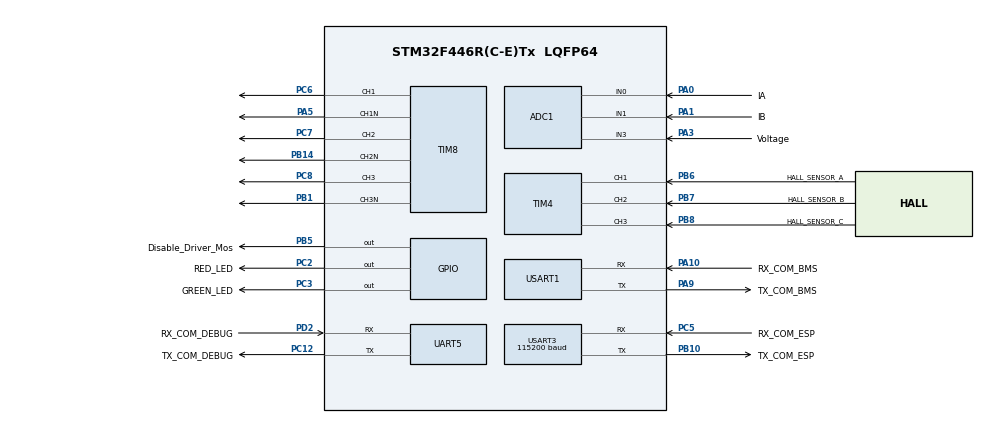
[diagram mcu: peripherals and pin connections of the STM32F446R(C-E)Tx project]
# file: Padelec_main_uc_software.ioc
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ADC1.Channel-0\#ChannelRegularConversion=ADC_CHANNEL_0
ADC1.Channel-1\#ChannelRegularConversion=ADC_CHANNEL_1
ADC1.ContinuousConvMode=DISABLE
ADC1.DMAContinuousRequests=DISABLE
ADC1.EOCSelection=ADC_EOC_SINGLE_CONV
ADC1.InjNumberOfConversion=0
ADC1.NbrOfConversion=2
ADC1.NbrOfConversionFlag=1
ADC1.Rank-0\#ChannelRegularConversion=1
ADC1.Rank-1\#ChannelRegularConversion=2
ADC1.SamplingTime-0\#ChannelRegularConversion=ADC_SAMPLETIME_56CYCLES
ADC1.SamplingTime-1\#ChannelRegularConversion=ADC_SAMPLETIME_56CYCLES
ADC1.ScanConvMode=ENABLE
ADC1.master=1
Dma.ADC1.0.Direction=DMA_PERIPH_TO_MEMORY
Dma.ADC1.0.FIFOMode=DMA_FIFOMODE_DISABLE
Dma.ADC1.0.Instance=DMA2_Stream0
Dma.ADC1.0.MemDataAlignment=DMA_MDATAALIGN_HALFWORD
Dma.ADC1.0.MemInc=DMA_MINC_ENABLE
Dma.ADC1.0.Mode=DMA_CIRCULAR
Dma.ADC1.0.PeriphDataAlignment=DMA_PDATAALIGN_HALFWORD
Dma.ADC1.0.PeriphInc=DMA_PINC_DISABLE
Dma.ADC1.0.Priority=DMA_PRIORITY_HIGH
Dma.Request0=ADC1
Mcu.Family=STM32F4
Mcu.Name=STM32F446R(C-E)Tx
Mcu.Package=LQFP64
NVIC.ADC_IRQn=true\:0\:0\:false\:false\:true\:true\:true\:true
NVIC.DMA2_Stream0_IRQn=true\:0\:0\:false\:false\:true\:false\:true\:true
NVIC.PriorityGroup=NVIC_PRIORITYGROUP_4
NVIC.USART1_IRQn=true\:0\:0\:false\:false\:true\:true\:true\:true
NVIC.USART3_IRQn=true\:0\:0\:false\:false\:true\:true\:true\:true
PA0-WKUP.GPIO_Label=IA
PA0-WKUP.Signal=SharedAnalog_PA0
PA1.GPIO_Label=IB
PA1.Signal=SharedAnalog_PA1
PA10.GPIO_Label=RX_COM_BMS
PA10.Mode=Asynchronous
PA10.Signal=USART1_RX
PA13.Mode=Serial_Wire
PA13.Signal=SYS_JTMS-SWDIO
PA14.Mode=Serial_Wire
PA14.Signal=SYS_JTCK-SWCLK
PA3.GPIO_Label=Voltage
PA3.Signal=ADCx_IN3
PA5.Mode=PWM Generation1 CH1 CH1N
PA5.Signal=TIM8_CH1N
PA9.GPIO_Label=TX_COM_BMS
PA9.Mode=Asynchronous
PA9.Signal=USART1_TX
PB1.Mode=PWM Generation3 CH3 CH3N
PB1.Signal=TIM8_CH3N
PB10.GPIO_Label=TX_COM_ESP
PB10.Mode=Asynchronous
PB10.Signal=USART3_TX
PB14.Mode=PWM Generation2 CH2 CH2N
PB14.Signal=TIM8_CH2N
PB5.GPIO_Label=Disable_Driver_Mos
PB5.Signal=GPIO_Output
PB6.GPIO_Label=HALL_SENSOR_A
PB6.Signal=S_TIM4_CH1
PB7.GPIO_Label=HALL_SENSOR_B
PB7.Signal=S_TIM4_CH2
PB8.GPIO_Label=HALL_SENSOR_C
PB8.Signal=S_TIM4_CH3
PC12.GPIO_Label=TX_COM_DEBUG
PC12.Mode=Asynchronous
PC12.Signal=UART5_TX
PC2.GPIO_Label=RED_LED
PC2.Signal=GPIO_Output
PC3.GPIO_Label=GREEN_LED
PC3.Signal=GPIO_Output
PC5.GPIO_Label=RX_COM_ESP
PC5.Mode=Asynchronous
PC5.Signal=USART3_RX
PC6.Signal=S_TIM8_CH1
PC7.Signal=S_TIM8_CH2
PC8.Signal=S_TIM8_CH3
PD2.GPIO_Label=RX_COM_DEBUG
PD2.Mode=Asynchronous
PD2.Signal=UART5_RX
ProjectManager.HeapSize=0x200
ProjectManager.StackSize=0x400
ProjectManager.TargetToolchain=STM32CubeIDE
RCC.CortexFreq_Value=16000000
RCC.PLLN=336
RCC.PLLQ=7
RCC.PLLSourceVirtual=RCC_PLLSOURCE_HSI
RCC.USBFreq_Value=48000000
RCC.VCOOutputFreq_Value=336000000
SH.ADCx_IN3.0=ADC1_IN3,IN3
SH.S_TIM4_CH1.0=TIM4_CH1,Xored_Inputs_Hall_Sensor_Interface
SH.S_TIM4_CH2.0=TIM4_CH2,Xored_Inputs_Hall_Sensor_Interface
SH.S_TIM4_CH3.0=TIM4_CH3,Xored_Inputs_Hall_Sensor_Interface
SH.S_TIM8_CH1.0=TIM8_CH1,PWM Generation1 CH1 CH1N
SH.S_TIM8_CH2.0=TIM8_CH2,PWM Generation2 CH2 CH2N
SH.S_TIM8_CH3.0=TIM8_CH3,PWM Generation3 CH3 CH3N
SH.SharedAnalog_PA0.0=GPIO_Analog
SH.SharedAnalog_PA0.1=ADC1_IN0,IN0
SH.SharedAnalog_PA1.0=GPIO_Analog
SH.SharedAnalog_PA1.1=ADC1_IN1,IN1
TIM8.Channel-PWM\ Generation1\ CH1\ CH1N=TIM_CHANNEL_1
TIM8.Channel-PWM\ Generation2\ CH2\ CH2N=TIM_CHANNEL_2
TIM8.Channel-PWM\ Generation3\ CH3\ CH3N=TIM_CHANNEL_3
UART5.VirtualMode=Asynchronous
USART1.VirtualMode=VM_ASYNC
USART3.BaudRate=115200
USART3.VirtualMode=VM_ASYNC
board=custom

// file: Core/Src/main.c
/* USER CODE BEGIN Header */
/**
  ******************************************************************************
  * @file           : main.c
  * @brief          : Main program body
  ******************************************************************************
  * @attention
  *
  * Copyright (c) 2025 STMicroelectronics.
  * All rights reserved.
  *
  * This software is licensed under terms that can be found in the LICENSE file
  * in the root directory of this software component.
  * If no LICENSE file comes with this software, it is provided AS-IS.
  *
  ******************************************************************************
  */
/* USER CODE END Header */
#include "main.h"

/* USER CODE BEGIN Includes */
#include <stdbool.h>
#include <stdio.h>
#include <stdlib.h>
#include <string.h>
/* USER CODE END Includes */

ADC_HandleTypeDef hadc1;
DMA_HandleTypeDef hdma_adc1;

TIM_HandleTypeDef htim4;
TIM_HandleTypeDef htim8;

UART_HandleTypeDef huart5;
UART_HandleTypeDef huart1;
UART_HandleTypeDef huart3;

/* USER CODE BEGIN PV */
volatile uint16_t adc_in0_current,adc_in1_current,adc_in2_current,adc_in3_voltage;
volatile uint16_t adc_in0, adc_in1;
uint16_t adc_dma_buf[2];
uint16_t adc_values[2];
float I_current[3];
#define RX_BUFFER_SIZE 64
#define ADC_MAX     4095.0f
#define VREF        3.3f

uint8_t rx_char;
char rx_buffer[RX_BUFFER_SIZE];
uint8_t rx_index = 0;

#define NRF_CE_HIGH()   HAL_GPIO_WritePin(CE_GPIO_Port, CE_Pin, GPIO_PIN_SET)
#define NRF_CE_LOW()    HAL_GPIO_WritePin(CE_GPIO_Port, CE_Pin, GPIO_PIN_RESET)
#define NRF_CSN_HIGH()  HAL_GPIO_WritePin(CSN_GPIO_Port, CSN_Pin, GPIO_PIN_SET)
#define NRF_CSN_LOW()   HAL_GPIO_WritePin(CSN_GPIO_Port, CSN_Pin, GPIO_PIN_RESET)
/* USER CODE END PV */

void SystemClock_Config(void);
static void MX_GPIO_Init(void);
static void MX_DMA_Init(void);
static void MX_ADC1_Init(void);
static void MX_USART3_UART_Init(void);
static void MX_TIM4_Init(void);
static void MX_TIM8_Init(void);
static void MX_UART5_Init(void);
static void MX_USART1_UART_Init(void);
/* USER CODE BEGIN PFP */
void HAL_UART_RxCpltCallback(UART_HandleTypeDef *huart);
void UART3_SendString(char *str);
void send_response(char *msg);
bool set_led(int led, int state);
bool set_pwm(int channel, int percent);
void process_command(char *cmd);
/* USER CODE END PFP */

int main(void)
{

  /* MCU Configuration--------------------------------------------------------*/

  /* Reset of all peripherals, Initializes the Flash interface and the Systick. */
  HAL_Init();

  /* Configure the system clock */
  SystemClock_Config();

  /* Initialize all configured peripherals */
  MX_GPIO_Init();
  MX_DMA_Init();
  MX_ADC1_Init();
  MX_USART3_UART_Init();
  MX_TIM4_Init();
  MX_TIM8_Init();
  MX_UART5_Init();
  MX_USART1_UART_Init();
  /* USER CODE BEGIN 2 */
  // Démarrage PWM

  HAL_TIM_PWM_Start(&htim8, TIM_CHANNEL_1);
  HAL_TIM_PWM_Start(&htim4, TIM_CHANNEL_1);
  HAL_TIM_PWM_Start(&htim8, TIM_CHANNEL_2);
  HAL_TIM_PWM_Start(&htim4, TIM_CHANNEL_2);
  HAL_TIM_PWM_Start(&htim8, TIM_CHANNEL_3);
  HAL_TIM_PWM_Start(&htim4, TIM_CHANNEL_3);
  //HAL_ADC_Start_DMA(&hadc1, (uint32_t*)adc_dma_buf, 2);
  // start interrupt UART3
  HAL_UART_Receive_IT(&huart3, &rx_char, 1);

  /* USER CODE END 2 */

  /* Infinite loop */
  while (1)
  {

    /* USER CODE BEGIN 3 */

	  // Toggle ALL LEDS
	  //HAL_GPIO_TogglePin(GPIOC, GPIO_PIN_4);
	  //HAL_GPIO_TogglePin(GPIOA, GPIO_PIN_5);
	  //HAL_GPIO_TogglePin(GPIOA, GPIO_PIN_4);

  }

  /* USER CODE END 3 */
}

void SystemClock_Config(void)
{
  RCC_OscInitTypeDef RCC_OscInitStruct = {0};
  RCC_ClkInitTypeDef RCC_ClkInitStruct = {0};

  /** Configure the main internal regulator output voltage
  */
  __HAL_RCC_PWR_CLK_ENABLE();
  __HAL_PWR_VOLTAGESCALING_CONFIG(PWR_REGULATOR_VOLTAGE_SCALE3);

  /** Initializes the RCC Oscillators according to the specified parameters
  * in the RCC_OscInitTypeDef structure.
  */
  RCC_OscInitStruct.OscillatorType = RCC_OSCILLATORTYPE_HSI;
  RCC_OscInitStruct.HSIState = RCC_HSI_ON;
  RCC_OscInitStruct.HSICalibrationValue = RCC_HSICALIBRATION_DEFAULT;
  RCC_OscInitStruct.PLL.PLLState = RCC_PLL_NONE;
  if (HAL_RCC_OscConfig(&RCC_OscInitStruct) != HAL_OK)
  {
    Error_Handler();
  }

  /** Initializes the CPU, AHB and APB buses clocks
  */
  RCC_ClkInitStruct.ClockType = RCC_CLOCKTYPE_HCLK|RCC_CLOCKTYPE_SYSCLK
                              |RCC_CLOCKTYPE_PCLK1|RCC_CLOCKTYPE_PCLK2;
  RCC_ClkInitStruct.SYSCLKSource = RCC_SYSCLKSOURCE_HSI;
  RCC_ClkInitStruct.AHBCLKDivider = RCC_SYSCLK_DIV1;
  RCC_ClkInitStruct.APB1CLKDivider = RCC_HCLK_DIV1;
  RCC_ClkInitStruct.APB2CLKDivider = RCC_HCLK_DIV1;

  if (HAL_RCC_ClockConfig(&RCC_ClkInitStruct, FLASH_LATENCY_0) != HAL_OK)
  {
    Error_Handler();
  }
}

static void MX_ADC1_Init(void)
{

  ADC_ChannelConfTypeDef sConfig = {0};

  /** Configure the global features of the ADC (Clock, Resolution, Data Alignment and number of conversion)
  */
  hadc1.Instance = ADC1;
  hadc1.Init.ClockPrescaler = ADC_CLOCK_SYNC_PCLK_DIV2;
  hadc1.Init.Resolution = ADC_RESOLUTION_12B;
  hadc1.Init.ScanConvMode = ENABLE;
  hadc1.Init.ContinuousConvMode = DISABLE;
  hadc1.Init.DiscontinuousConvMode = DISABLE;
  hadc1.Init.ExternalTrigConvEdge = ADC_EXTERNALTRIGCONVEDGE_NONE;
  hadc1.Init.ExternalTrigConv = ADC_SOFTWARE_START;
  hadc1.Init.DataAlign = ADC_DATAALIGN_RIGHT;
  hadc1.Init.NbrOfConversion = 2;
  hadc1.Init.DMAContinuousRequests = DISABLE;
  hadc1.Init.EOCSelection = ADC_EOC_SINGLE_CONV;
  if (HAL_ADC_Init(&hadc1) != HAL_OK)
  {
    Error_Handler();
  }

  /** Configure for the selected ADC regular channel its corresponding rank in the sequencer and its sample time.
  */
  sConfig.Channel = ADC_CHANNEL_0;
  sConfig.Rank = 1;
  sConfig.SamplingTime = ADC_SAMPLETIME_56CYCLES;
  if (HAL_ADC_ConfigChannel(&hadc1, &sConfig) != HAL_OK)
  {
    Error_Handler();
  }

  /** Configure for the selected ADC regular channel its corresponding rank in the sequencer and its sample time.
  */
  sConfig.Channel = ADC_CHANNEL_1;
  sConfig.Rank = 2;
  if (HAL_ADC_ConfigChannel(&hadc1, &sConfig) != HAL_OK)
  {
    Error_Handler();
  }

}

static void MX_TIM4_Init(void)
{

  TIM_HallSensor_InitTypeDef sConfig = {0};
  TIM_MasterConfigTypeDef sMasterConfig = {0};

  htim4.Instance = TIM4;
  htim4.Init.Prescaler = 0;
  htim4.Init.CounterMode = TIM_COUNTERMODE_UP;
  htim4.Init.Period = 65535;
  htim4.Init.ClockDivision = TIM_CLOCKDIVISION_DIV1;
  htim4.Init.AutoReloadPreload = TIM_AUTORELOAD_PRELOAD_DISABLE;
  sConfig.IC1Polarity = TIM_ICPOLARITY_RISING;
  sConfig.IC1Prescaler = TIM_ICPSC_DIV1;
  sConfig.IC1Filter = 0;
  sConfig.Commutation_Delay = 0;
  if (HAL_TIMEx_HallSensor_Init(&htim4, &sConfig) != HAL_OK)
  {
    Error_Handler();
  }
  sMasterConfig.MasterOutputTrigger = TIM_TRGO_OC2REF;
  sMasterConfig.MasterSlaveMode = TIM_MASTERSLAVEMODE_DISABLE;
  if (HAL_TIMEx_MasterConfigSynchronization(&htim4, &sMasterConfig) != HAL_OK)
  {
    Error_Handler();
  }

}

static void MX_TIM8_Init(void)
{

  TIM_MasterConfigTypeDef sMasterConfig = {0};
  TIM_OC_InitTypeDef sConfigOC = {0};
  TIM_BreakDeadTimeConfigTypeDef sBreakDeadTimeConfig = {0};

  htim8.Instance = TIM8;
  htim8.Init.Prescaler = 0;
  htim8.Init.CounterMode = TIM_COUNTERMODE_UP;
  htim8.Init.Period = 65535;
  htim8.Init.ClockDivision = TIM_CLOCKDIVISION_DIV1;
  htim8.Init.RepetitionCounter = 0;
  htim8.Init.AutoReloadPreload = TIM_AUTORELOAD_PRELOAD_DISABLE;
  if (HAL_TIM_PWM_Init(&htim8) != HAL_OK)
  {
    Error_Handler();
  }
  sMasterConfig.MasterOutputTrigger = TIM_TRGO_RESET;
  sMasterConfig.MasterSlaveMode = TIM_MASTERSLAVEMODE_DISABLE;
  if (HAL_TIMEx_MasterConfigSynchronization(&htim8, &sMasterConfig) != HAL_OK)
  {
    Error_Handler();
  }
  sConfigOC.OCMode = TIM_OCMODE_PWM1;
  sConfigOC.Pulse = 0;
  sConfigOC.OCPolarity = TIM_OCPOLARITY_HIGH;
  sConfigOC.OCNPolarity = TIM_OCNPOLARITY_HIGH;
  sConfigOC.OCFastMode = TIM_OCFAST_DISABLE;
  sConfigOC.OCIdleState = TIM_OCIDLESTATE_RESET;
  sConfigOC.OCNIdleState = TIM_OCNIDLESTATE_RESET;
  if (HAL_TIM_PWM_ConfigChannel(&htim8, &sConfigOC, TIM_CHANNEL_1) != HAL_OK)
  {
    Error_Handler();
  }
  if (HAL_TIM_PWM_ConfigChannel(&htim8, &sConfigOC, TIM_CHANNEL_2) != HAL_OK)
  {
    Error_Handler();
  }
  if (HAL_TIM_PWM_ConfigChannel(&htim8, &sConfigOC, TIM_CHANNEL_3) != HAL_OK)
  {
    Error_Handler();
  }
  sBreakDeadTimeConfig.OffStateRunMode = TIM_OSSR_DISABLE;
  sBreakDeadTimeConfig.OffStateIDLEMode = TIM_OSSI_DISABLE;
  sBreakDeadTimeConfig.LockLevel = TIM_LOCKLEVEL_OFF;
  sBreakDeadTimeConfig.DeadTime = 0;
  sBreakDeadTimeConfig.BreakState = TIM_BREAK_DISABLE;
  sBreakDeadTimeConfig.BreakPolarity = TIM_BREAKPOLARITY_HIGH;
  sBreakDeadTimeConfig.AutomaticOutput = TIM_AUTOMATICOUTPUT_DISABLE;
  if (HAL_TIMEx_ConfigBreakDeadTime(&htim8, &sBreakDeadTimeConfig) != HAL_OK)
  {
    Error_Handler();
  }
  HAL_TIM_MspPostInit(&htim8);

}

static void MX_UART5_Init(void)
{

  huart5.Instance = UART5;
  huart5.Init.BaudRate = 115200;
  huart5.Init.WordLength = UART_WORDLENGTH_8B;
  huart5.Init.StopBits = UART_STOPBITS_1;
  huart5.Init.Parity = UART_PARITY_NONE;
  huart5.Init.Mode = UART_MODE_TX_RX;
  huart5.Init.HwFlowCtl = UART_HWCONTROL_NONE;
  huart5.Init.OverSampling = UART_OVERSAMPLING_16;
  if (HAL_UART_Init(&huart5) != HAL_OK)
  {
    Error_Handler();
  }

}

static void MX_USART1_UART_Init(void)
{

  huart1.Instance = USART1;
  huart1.Init.BaudRate = 115200;
  huart1.Init.WordLength = UART_WORDLENGTH_8B;
  huart1.Init.StopBits = UART_STOPBITS_1;
  huart1.Init.Parity = UART_PARITY_NONE;
  huart1.Init.Mode = UART_MODE_TX_RX;
  huart1.Init.HwFlowCtl = UART_HWCONTROL_NONE;
  huart1.Init.OverSampling = UART_OVERSAMPLING_16;
  if (HAL_UART_Init(&huart1) != HAL_OK)
  {
    Error_Handler();
  }

}

static void MX_USART3_UART_Init(void)
{

  huart3.Instance = USART3;
  huart3.Init.BaudRate = 115200;
  huart3.Init.WordLength = UART_WORDLENGTH_8B;
  huart3.Init.StopBits = UART_STOPBITS_1;
  huart3.Init.Parity = UART_PARITY_NONE;
  huart3.Init.Mode = UART_MODE_TX_RX;
  huart3.Init.HwFlowCtl = UART_HWCONTROL_NONE;
  huart3.Init.OverSampling = UART_OVERSAMPLING_16;
  if (HAL_UART_Init(&huart3) != HAL_OK)
  {
    Error_Handler();
  }

}

static void MX_DMA_Init(void)
{

  /* DMA controller clock enable */
  __HAL_RCC_DMA2_CLK_ENABLE();

  /* DMA interrupt init */
  /* DMA2_Stream0_IRQn interrupt configuration */
  HAL_NVIC_SetPriority(DMA2_Stream0_IRQn, 0, 0);
  HAL_NVIC_EnableIRQ(DMA2_Stream0_IRQn);

}

static void MX_GPIO_Init(void)
{
  GPIO_InitTypeDef GPIO_InitStruct = {0};

  /* GPIO Ports Clock Enable */
  __HAL_RCC_GPIOC_CLK_ENABLE();
  __HAL_RCC_GPIOA_CLK_ENABLE();
  __HAL_RCC_GPIOB_CLK_ENABLE();
  __HAL_RCC_GPIOD_CLK_ENABLE();

  /*Configure GPIO pin Output Level */
  HAL_GPIO_WritePin(GPIOC, RED_LED_Pin|GREEN_LED_Pin, GPIO_PIN_RESET);

  /*Configure GPIO pin Output Level */
  HAL_GPIO_WritePin(Disable_Driver_Mos_GPIO_Port, Disable_Driver_Mos_Pin, GPIO_PIN_RESET);

  /*Configure GPIO pins : RED_LED_Pin GREEN_LED_Pin */
  GPIO_InitStruct.Pin = RED_LED_Pin|GREEN_LED_Pin;
  GPIO_InitStruct.Mode = GPIO_MODE_OUTPUT_PP;
  GPIO_InitStruct.Pull = GPIO_NOPULL;
  GPIO_InitStruct.Speed = GPIO_SPEED_FREQ_LOW;
  HAL_GPIO_Init(GPIOC, &GPIO_InitStruct);

  /*Configure GPIO pin : Disable_Driver_Mos_Pin */
  GPIO_InitStruct.Pin = Disable_Driver_Mos_Pin;
  GPIO_InitStruct.Mode = GPIO_MODE_OUTPUT_PP;
  GPIO_InitStruct.Pull = GPIO_NOPULL;
  GPIO_InitStruct.Speed = GPIO_SPEED_FREQ_LOW;
  HAL_GPIO_Init(Disable_Driver_Mos_GPIO_Port, &GPIO_InitStruct);

  /* USER CODE BEGIN MX_GPIO_Init_2 */
  GPIO_InitStruct.Pin = GPIO_PIN_0 | GPIO_PIN_1;
  GPIO_InitStruct.Mode = GPIO_MODE_ANALOG;
  GPIO_InitStruct.Pull = GPIO_NOPULL;
  HAL_GPIO_Init(GPIOA, &GPIO_InitStruct);
  /* USER CODE END MX_GPIO_Init_2 */
}

/* USER CODE BEGIN 4 */
void HAL_UART_RxCpltCallback(UART_HandleTypeDef *huart)
{
    if (huart->Instance == USART3) {

        if (rx_char == '\n') {
            rx_buffer[rx_index] = '\0';  // Fin de chaîne

            process_command(rx_buffer);
            rx_index = 0;

        } else {
            if (rx_index < RX_BUFFER_SIZE - 1) {
                rx_buffer[rx_index++] = rx_char;
            }
        }

        HAL_UART_Receive_IT(&huart3, &rx_char, 1);

    }
}

void UART3_SendString(char *str)
{
    HAL_UART_Transmit(&huart3, (uint8_t*)str, strlen(str), HAL_MAX_DELAY);
}

void send_response(char *msg)
{
    HAL_UART_Transmit(&huart3, (uint8_t*)msg, strlen(msg), HAL_MAX_DELAY);
}

float adc_to_current(uint16_t adc)
{
    float v_adc = (adc * VREF) / ADC_MAX;
    float R_SHUNT = 0.1, Gain = 10, current_mes;
    current_mes = v_adc /(R_SHUNT * Gain);
    return current_mes;
}

void read_adc_and_send(void)
{
    HAL_ADC_Start(&hadc1);

    for (int i = 0; i < 2; i++)
    {
        HAL_ADC_PollForConversion(&hadc1, 10);
        adc_values[i] = HAL_ADC_GetValue(&hadc1);
        I_current[i] = adc_to_current(adc_values[i]);
    }

    HAL_ADC_Stop(&hadc1);

    char tx_buf[64];
    snprintf(tx_buf, sizeof(tx_buf),
             "ADC:%.2f,%.2f\r\n",
			 I_current[0],
			 I_current[1]);

    HAL_UART_Transmit(&huart3, (uint8_t *)tx_buf, strlen(tx_buf), 100);
}

bool set_led(int led, int state)
{
    if (led == 1) {
        HAL_GPIO_WritePin(GPIOA,GPIO_PIN_5,
                          state ? GPIO_PIN_SET : GPIO_PIN_RESET);
        return true;
    }
    return false;
}

bool set_pwm(int channel, int percent)
{
    if (percent < 0 || percent > 100) return false;

    uint32_t pulse = (htim4.Init.Period * percent) / 100;

    if (channel == 1) {
        __HAL_TIM_SET_COMPARE(&htim8, TIM_CHANNEL_1, pulse );
        __HAL_TIM_SET_COMPARE(&htim4, TIM_CHANNEL_1, htim4.Init.Period - pulse);
        return true;
    }
    else if (channel == 2) {
        __HAL_TIM_SET_COMPARE(&htim8, TIM_CHANNEL_2, pulse );
        __HAL_TIM_SET_COMPARE(&htim4, TIM_CHANNEL_2, htim4.Init.Period - pulse);
        return true;
     }
    else if (channel == 3) {
        __HAL_TIM_SET_COMPARE(&htim8, TIM_CHANNEL_3, pulse );
        __HAL_TIM_SET_COMPARE(&htim4, TIM_CHANNEL_3, htim4.Init.Period - pulse);
        return true;
     }
    return false;
}

void process_command(char *cmd)
{
    char *type = strtok(cmd, ";");
    char *target = strtok(NULL, ";");
    char *value = strtok(NULL, ";");

    if (!type || !target || !value) {
        send_response("KO\n");
        return;
    }

    int id = atoi(target);
    int val = atoi(value);
    char msg[20];

    // ----- LED -----
    if (strcmp(type, "LED") == 0) {
        if (set_led(id, val)) {
            send_response("OK\n");
        } else {
            send_response("KO\n");
        }
    }

    else if (strcmp(type, "ADC") == 0) {
    	read_adc_and_send();
    }

    // ----- PWM -----

    else if (strcmp(type, "PWM") == 0) {
        if (set_pwm(id, val)) {
        	snprintf(msg, sizeof(msg), "OK:%d\r\n", val);
            send_response(msg);
        } else {
            send_response("KO\n");
        }
    }

    else {
        send_response("KO\n");
    }
}

/* USER CODE END 4 */

void Error_Handler(void)
{
  __disable_irq();
  while (1)
  {
  }
}
